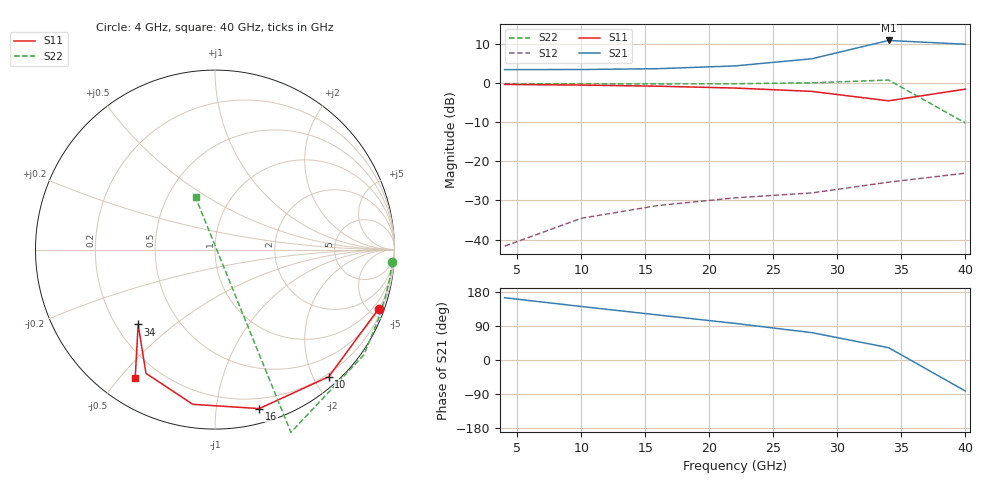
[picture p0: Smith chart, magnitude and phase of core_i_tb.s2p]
# GHz S RI R 50
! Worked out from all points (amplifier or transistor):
!   7 points, 4 GHz to 40 GHz, reference 50 ohm
!   highest |S21| = 11.0 dB at 34 GHz (marker M1)
!   |S21| within 3 dB of that: 30.16 GHz to end of sweep
!   unconditionally stable (mu >= 1): nowhere
!   at 10 GHz: K = 0.25, MSG = 19.1 dB, |S12| = -34.6 dB
!   at 22 GHz: K = 0.46, MSG = 16.9 dB, |S12| = -29.3 dB
!   at 40 GHz: K = 0.68, MSG = 16.5 dB, |S12| = -23.0 dB
!   S11 on the Smith chart (normalised r, x): 4 GHz: 0.52, -5.64; 10 GHz: 0.15, -2.23; 16 GHz: 0.11, -1.31; 34 GHz: 0.29, -0.38; 40 GHz: 0.11, -0.55
4  0.9112 -0.3305  -1.443 0.406  0.00207 0.00795  0.9881 -0.0687
10  0.6339 -0.7082  -1.172 0.9422  0.00965 0.016  0.9728 -0.1652
16  0.2467 -0.8858  -0.7418 1.352  0.02 0.0185  0.9474 -0.27
22  -0.1236 -0.8621  -0.1932 1.662  0.0309 0.0146  0.9074 -0.3944
28  -0.3848 -0.6892  0.6313 1.966  0.0395 0.000478  0.8294 -0.5864
34  -0.4281 -0.4167  2.99 1.904  0.0353 -0.0412  0.4228 -1.018
40  -0.4447 -0.7166  0.4473 -3.139  -0.0658 0.0259  -0.1086 0.2912
